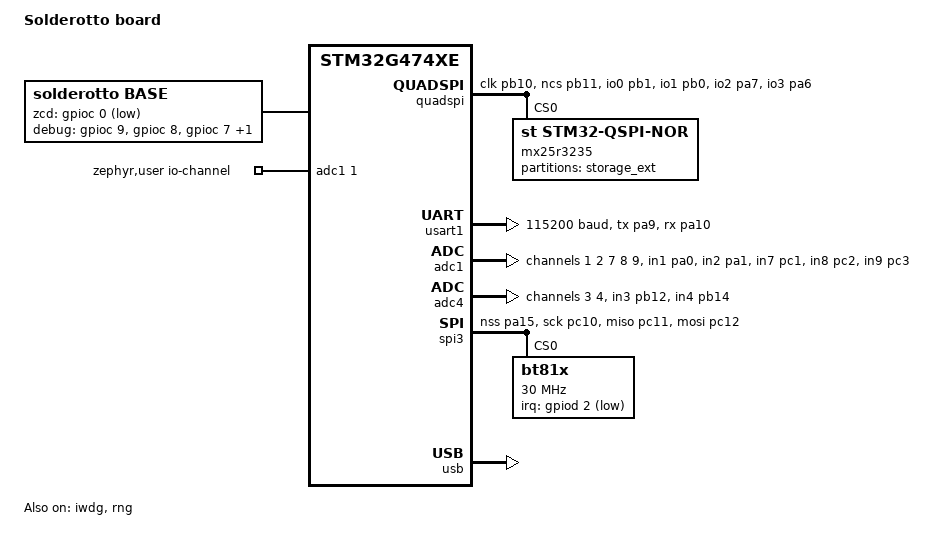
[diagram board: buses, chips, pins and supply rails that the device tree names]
/*
 *
 * SPDX-License-Identifier: Apache-2.0
 */

/dts-v1/;
#include <st/g4/stm32g474Xe.dtsi>
#include <st/g4/stm32g474q(b-c-e)tx-pinctrl.dtsi>
#include <zephyr/dt-bindings/input/input-event-codes.h>

/ {
	model = "Solderotto board";
	compatible = "st,solderotto";

	chosen {
		zephyr,console = &rtt0;
		zephyr,shell-uart = &rtt0;
		zephyr,sram = &sram0;
		zephyr,flash = &flash0;
		zephyr,code-partition = &slot0_partition;
	};

	rtt0: rtt_chan0 {
		compatible = "segger,rtt-uart";
		status = "okay";
	};

	solderotto: solderotto {
		compatible = "solderotto,base";
		zcd-gpios = <&gpioc 0 GPIO_ACTIVE_LOW>;

		aux-io-channels = <&adc4 3>, <&adc4 4>;

		debug-gpios = <&gpioc 9 GPIO_OPEN_DRAIN>,
					  <&gpioc 8 GPIO_OPEN_DRAIN>,
					  <&gpioc 7 GPIO_OPEN_DRAIN>,
					  <&gpioc 6 GPIO_OPEN_DRAIN>;

		channel0: channel {
			compatible = "solderotto,channel";

			/* ADC controller for this channel */
			adc = <&adc1>;

			/* IO channels: keep using the already defined adc1 children */
			handle-io-channels = <&adc1 1>;
			tip-io-channels = <&adc1 8>, <&adc1 9>;

			/* GPIOs: reuse existing nodes */
			load-switch-gpios = <&gpioc 13 GPIO_ACTIVE_HIGH>,
								<&gpioc 14 GPIO_ACTIVE_HIGH>;

			/* Index 0 = tip A (sel_1a, sel_2a), index 1 = tip B (sel_1b, sel_2b) */
			tip-select-a-gpios = <&gpiob 5 GPIO_ACTIVE_HIGH>, /* sel1a */
								 <&gpiob 7 GPIO_ACTIVE_HIGH>; /* sel1b */

			tip-select-b-gpios = <&gpiob 6 GPIO_ACTIVE_HIGH>, /* sel2a */
								 <&gpiob 9 GPIO_ACTIVE_HIGH>; /* sel2b */

			tip-change-gpios = <&gpioa 3 GPIO_ACTIVE_LOW>;
			stand-idle-gpios = <&gpioa 4 GPIO_ACTIVE_LOW>;
		};
	};

	zephyr,user {
		io-channels = <&adc1 1>;
	};

	soc {
		quadspi: quadspi@a0001000 {
			compatible = "st,stm32-qspi";
			#address-cells = <1>;
			#size-cells = <0>;
			reg = <0xa0001000 0x400>, <0x90000000 DT_SIZE_M(256)>;
			interrupts = <95 0>;
			clocks = <&rcc STM32_CLOCK(AHB3, 8U)>;

			status = "disabled";
		};
	};
};

&dma1 {
	status = "okay";
};

&dma2 {
	status = "okay";
};

&dmamux1 {
	status = "okay";
};

&flash0 {
	partitions {
		compatible = "fixed-partitions";
		#address-cells = <1>;
		#size-cells = <1>;

		boot_partition: partition@0 {
			label = "mcuboot";
			reg = <0x00000000 DT_SIZE_K(34)>;
		};

		slot0_partition: partition@8800 {
			label = "image-0";
			reg = <0x00008800 DT_SIZE_K(462)>;
		};

		scratch_partition: partition@7C000 {
			label = "image-scratch";
			reg = <0x0007c000 DT_SIZE_K(16)>;
		};
	};
};

&quadspi {
	pinctrl-0 = <&quadspi1_clk_pb10 &quadspi1_bk1_ncs_pb11
				 &quadspi1_bk1_io0_pb1 &quadspi1_bk1_io1_pb0
				 &quadspi1_bk1_io2_pa7 &quadspi1_bk1_io3_pa6>;
	pinctrl-names = "default";

	flash-id = <1>;
	status = "okay";

	mx25r3235: qspi-nor-flash@0 {
		compatible = "st,stm32-qspi-nor";
		reg = <0>;
		size = <DT_SIZE_M(32)>; /* 32 Mbits */
		qspi-max-frequency = <8000000>;
		spi-bus-width = <4>;
		jedec-id = [c2 28 16];

		status = "okay";

		partitions {
			compatible = "fixed-partitions";
			#address-cells = <1>;
			#size-cells = <0>;

//			slot1_partition: partition@0 {
//				label = "image-1";
//				reg = <0x00000000 DT_SIZE_K(462)>;
//			};

//			storage: partition@73800 {
//				label = "storage_ext";
//				reg = <0x00073800 DT_SIZE_K(3634)>;
//			};
			storage: partition@0 {
				label = "storage_ext";
				reg = <0x00000000 DT_SIZE_M(32)>;
			};
		};
	};
};

&clk_lsi {
	status = "okay";
};

&clk_hsi {
	status = "okay";
};

&clk_hsi48 {
	status = "okay";
};

&pll {
	div-m = <1>;
	mul-n = <20>;
	div-p = <2>;
	div-q = <8>;
	div-r = <2>;
	clocks = <&clk_hsi>;
	status = "okay";
};

&rcc {
	clocks = <&pll>;
	clock-frequency = <DT_FREQ_M(160)>;
	ahb-prescaler = <1>;
	apb1-prescaler = <1>;
	apb2-prescaler = <1>;
};

&usart1 {
	pinctrl-0 = <&usart1_tx_pa9 &usart1_rx_pa10>;
	pinctrl-names = "default";
	current-speed = <115200>;
	stop-bits = "1";
	data-bits = <8>;
	status = "okay";
};

&iwdg {
	status = "okay";
};

&rng {
	status = "okay";
};

&adc1 {
	#address-cells = <1>;
	#size-cells = <0>;

	pinctrl-0 = <&adc1_in1_pa0 &adc1_in2_pa1 &adc1_in7_pc1 &adc1_in8_pc2 &adc1_in9_pc3>;
	pinctrl-names = "default";
	st,adc-clock-source = "SYNC";
	st,adc-prescaler = <4>;
	status = "okay";

	channel@1 {
		reg = <1>;
		zephyr,gain = "ADC_GAIN_1";
		zephyr,reference = "ADC_REF_INTERNAL";
		zephyr,acquisition-time = <ADC_ACQ_TIME_DEFAULT>;
		zephyr,resolution = <12>;
	};

	channel@2 {
		reg = <2>;
		zephyr,gain = "ADC_GAIN_1";
		zephyr,reference = "ADC_REF_INTERNAL";
		zephyr,acquisition-time = <ADC_ACQ_TIME_DEFAULT>;
		zephyr,resolution = <12>;
	};

	channel@7 {
		reg = <7>;
		zephyr,gain = "ADC_GAIN_1";
		zephyr,reference = "ADC_REF_INTERNAL";
		zephyr,acquisition-time = <ADC_ACQ_TIME_DEFAULT>;
		zephyr,resolution = <12>;
	};

	channel@8 {
		reg = <8>;
		zephyr,gain = "ADC_GAIN_1";
		zephyr,reference = "ADC_REF_INTERNAL";
		zephyr,acquisition-time = <ADC_ACQ_TIME_DEFAULT>;
		zephyr,resolution = <12>;
		zephyr,oversampling = <5>;
	};

	channel@9 {
		reg = <9>;
		zephyr,gain = "ADC_GAIN_1";
		zephyr,reference = "ADC_REF_INTERNAL";
		zephyr,acquisition-time = <ADC_ACQ_TIME_DEFAULT>;
		zephyr,resolution = <12>;
		zephyr,oversampling = <5>;
	};
};

&adc4 {
	pinctrl-0 = <&adc4_in3_pb12 &adc4_in4_pb14>;
	pinctrl-names = "default";
	st,adc-clock-source = "SYNC";
	st,adc-prescaler = <4>;
	status = "okay";
	#address-cells = <1>;
	#size-cells = <0>;

	channel@3 {
		reg = <3>;
		zephyr,gain = "ADC_GAIN_1";
		zephyr,reference = "ADC_REF_INTERNAL";
		zephyr,acquisition-time = <ADC_ACQ_TIME_DEFAULT>;
		zephyr,resolution = <12>;
	};

	channel@4 {
		reg = <4>;
		zephyr,gain = "ADC_GAIN_1";
		zephyr,reference = "ADC_REF_INTERNAL";
		zephyr,acquisition-time = <ADC_ACQ_TIME_DEFAULT>;
		zephyr,resolution = <12>;
	};
};

&spi3 {
	pinctrl-0 = <&spi3_nss_pa15 &spi3_sck_pc10 &spi3_miso_pc11 &spi3_mosi_pc12>;
	pinctrl-names = "default";

	status = "okay";

	dmas = <&dma1 4 15 STM32_DMA_PERIPH_TX
			&dma1 5 14 STM32_DMA_PERIPH_RX>;
	dma-names = "tx", "rx";

	bt81x: bt81x@0 {
		compatible = "bt81x";

		reg = <0x0>;
		spi-max-frequency = <30000000>;
		irq-gpios = <&gpiod 2 GPIO_ACTIVE_LOW>;

		hsize = <800>;
		vsize = <480>;
		hcycle = <816>;
		hoffset = <8>;
		hsync0 = <0>;
		hsync1 = <4>;
		vcycle = <496>;
		voffset = <8>;
		vsync0 = <0>;
		vsync1 = <4>;
		pclk = <1>;
		swizzle = <0>;
		pclk_pol = <1>;
		cspread = <0>;
		dither = <0>;
		pclk_freq = <3348>;
		pclk_2x = <0>;

		status = "okay";
	};
};

&usb {
	status = "okay";
};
